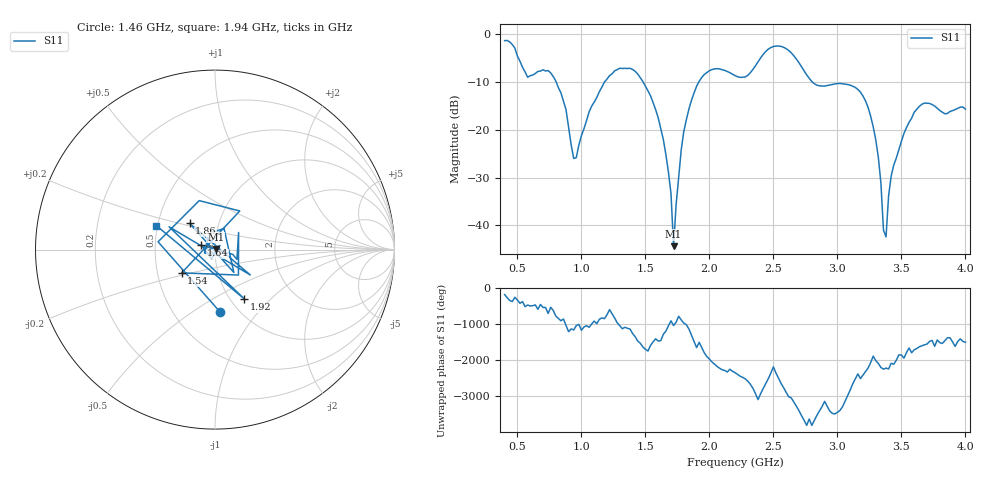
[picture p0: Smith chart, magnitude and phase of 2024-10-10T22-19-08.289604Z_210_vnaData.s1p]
! Created with skrf (http://scikit-rf.org).
# Hz S RI R 50.0
!freq ReS11 ImS11
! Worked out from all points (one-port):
!   181 points, 400 MHz to 4 GHz, reference 50 ohm
!   lowest |S11| = -44.3 dB at 1.72 GHz (marker M1), VSWR 1.01, Z = 50.4 + j0.424 ohm
!   |S11| at or under -10 dB: 803 MHz to 1.18 GHz (377.3 MHz wide, 38 % of centre); 1.482 GHz to 1.917 GHz (435.2 MHz wide, 25.6 % of centre); 2.805 GHz to end of sweep
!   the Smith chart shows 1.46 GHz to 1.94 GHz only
!   S11 on the Smith chart (normalised r, x): 1.46 GHz: 0.83, -0.66; 1.54 GHz: 0.67, -0.18; 1.64 GHz: 0.86, +0.04; 1.86 GHz: 0.72, +0.22; 1.92 GHz: 1.16, -0.71; 1.94 GHz: 0.49, +0.15
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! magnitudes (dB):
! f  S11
! 400 MHz  -1.4
! 760 MHz  -8.1
! 860 MHz  -14.0
! 960 MHz  -25.8
! 1.08 GHz  -15.1
! 1.3 GHz  -7.1
! 1.46 GHz  -9.1
! 1.54 GHz  -12.9
! 1.64 GHz  -22.0
! 1.7 GHz  -33.3
! 1.72 GHz  -44.3
! 1.76 GHz  -29.9
! 1.86 GHz  -13.8
! 1.92 GHz  -9.9
! 1.94 GHz  -9.1
! 2.2 GHz  -8.7
! 2.5 GHz  -2.6
! 2.66 GHz  -4.5
! 2.84 GHz  -10.7
! 3.1 GHz  -10.7
! 3.28 GHz  -19.4
! 3.34 GHz  -31.1
! 3.36 GHz  -41.0
! 3.38 GHz  -42.4
! 3.42 GHz  -29.7
! 3.56 GHz  -18.4
! 3.68 GHz  -14.4
! 4 GHz  -15.7
